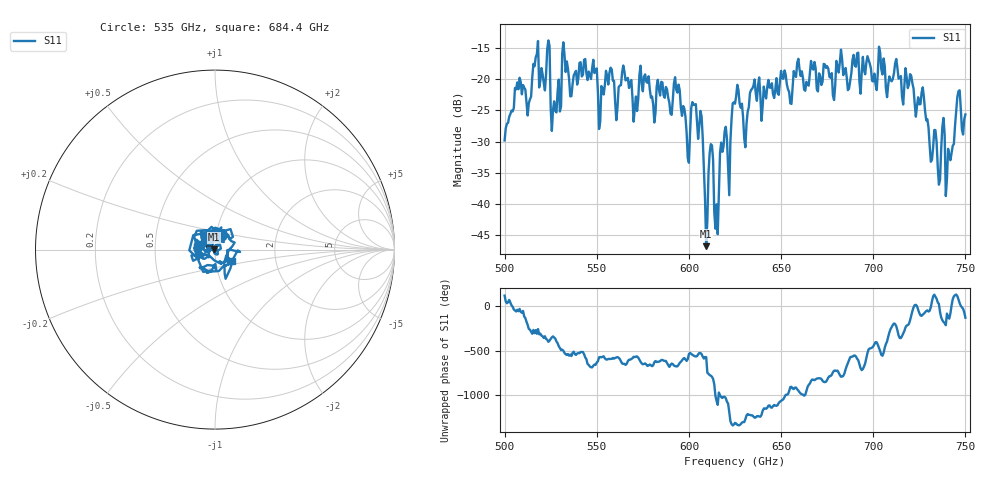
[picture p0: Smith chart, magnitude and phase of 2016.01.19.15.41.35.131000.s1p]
!Created with skrf (http://scikit-rf.org).
# GHz S RI R 50.0
!freq ReS11 ImS11
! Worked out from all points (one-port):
!   401 points, 500 GHz to 750 GHz, reference 50 ohm
!   lowest |S11| = -46.8 dB at 609.4 GHz (marker M1), VSWR 1.01, Z = 49.6 + j0.228 ohm
!   |S11| at or under -10 dB: start of sweep to end of sweep
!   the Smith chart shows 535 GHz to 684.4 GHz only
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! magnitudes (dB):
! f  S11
! 500 GHz  -29.8
! 506.9 GHz  -20.5
! 513.1 GHz  -23.8
! 516.9 GHz  -16.5
! 523.8 GHz  -13.8
! 526.9 GHz  -23.5
! 531.2 GHz  -15.9
! 562.5 GHz  -21.0
! 593.8 GHz  -22.1
! 599.4 GHz  -32.6
! 602.5 GHz  -24.1
! 606.2 GHz  -25.1
! 609.4 GHz  -46.8
! 611.9 GHz  -30.4
! 615 GHz  -40.1
! 618.1 GHz  -31.6
! 621.9 GHz  -38.6
! 625 GHz  -23.9
! 630.6 GHz  -30.9
! 634.4 GHz  -21.5
! 656.2 GHz  -21.2
! 687.5 GHz  -20.3
! 718.8 GHz  -21.4
! 735.6 GHz  -36.9
! 737.5 GHz  -27.6
! 740.6 GHz  -31.2
! 746.2 GHz  -21.9
! 750 GHz  -25.7
